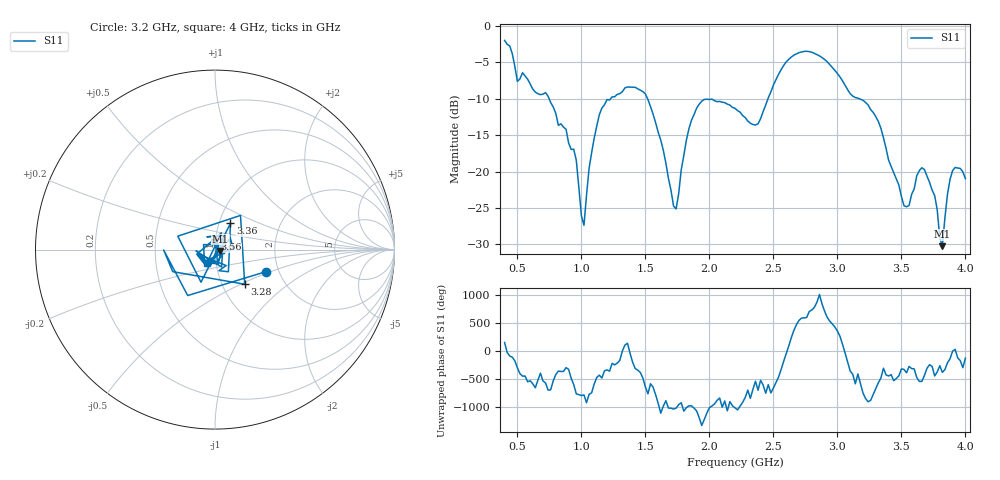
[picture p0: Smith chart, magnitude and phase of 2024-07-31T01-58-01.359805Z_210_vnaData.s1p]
!Created with skrf (http://scikit-rf.org).
# Hz S RI R 50.0
!freq ReS11 ImS11
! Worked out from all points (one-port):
!   181 points, 400 MHz to 4 GHz, reference 50 ohm
!   lowest |S11| = -30.2 dB at 3.82 GHz (marker M1), VSWR 1.06, Z = 53.1 - j0.799 ohm
!   |S11| at or under -10 dB: 747.5 MHz to 1.229 GHz (481.4 MHz wide, 48.7 % of centre); 1.517 GHz to 2.458 GHz (941.3 MHz wide, 47.4 % of centre); 3.169 GHz to end of sweep
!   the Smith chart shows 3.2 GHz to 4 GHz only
!   S11 on the Smith chart (normalised r, x): 3.2 GHz: 1.71, -0.47; 3.28 GHz: 1.28, -0.53; 3.36 GHz: 1.13, +0.34; 3.56 GHz: 0.99, +0.12; 4 GHz: 0.90, -0.14
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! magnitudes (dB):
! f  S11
! 400 MHz  -2.0
! 500 MHz  -7.6
! 720 MHz  -9.2
! 860 MHz  -13.9
! 960 MHz  -18.5
! 1.02 GHz  -27.4
! 1.06 GHz  -19.6
! 1.14 GHz  -12.2
! 1.3 GHz  -9.3
! 1.5 GHz  -9.4
! 1.72 GHz  -24.7
! 1.76 GHz  -23.0
! 1.84 GHz  -14.1
! 1.92 GHz  -10.8
! 2.2 GHz  -11.3
! 2.38 GHz  -13.5
! 2.66 GHz  -4.0
! 2.88 GHz  -4.4
! 3.1 GHz  -9.3
! 3.2 GHz  -10.2
! 3.28 GHz  -11.9
! 3.36 GHz  -15.4
! 3.56 GHz  -24.7
! 3.68 GHz  -19.7
! 3.76 GHz  -23.3
! 3.82 GHz  -30.2
! 3.9 GHz  -19.9
! 4 GHz  -21.0
